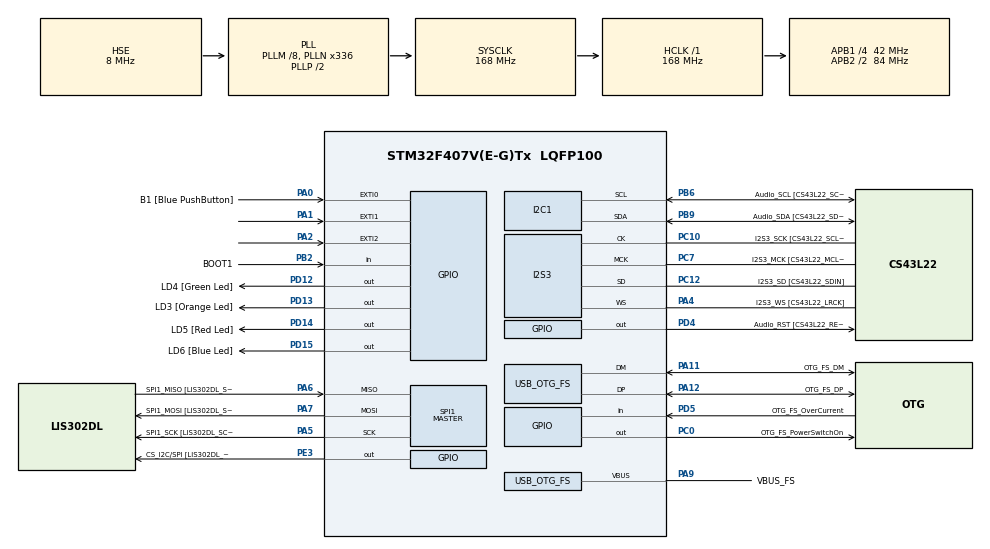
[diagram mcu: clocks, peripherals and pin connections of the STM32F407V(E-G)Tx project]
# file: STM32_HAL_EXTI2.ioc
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I2S3.AudioFreq-Half_Duplex_Master=I2S_AUDIOFREQ_96K
I2S3.ErrorAudioFreq=-2.34 %
I2S3.ErrorAudioFreq-Half_Duplex_Master=0.8 %
I2S3.FullDuplexMode=I2S_FULLDUPLEXMODE_DISABLE
I2S3.Instance=SPI$Index
I2S3.RealAudioFreq=93.75 KHz
I2S3.RealAudioFreq-Half_Duplex_Master=96.774 KHz
I2S3.VirtualMode=I2S_MODE_MASTER
Mcu.Family=STM32F4
Mcu.Name=STM32F407V(E-G)Tx
Mcu.Package=LQFP100
NVIC.EXTI0_IRQn=true\:0\:0\:false\:false\:true\:true\:true\:true
NVIC.EXTI1_IRQn=true\:0\:0\:false\:false\:true\:true\:true\:true
NVIC.EXTI2_IRQn=true\:0\:0\:false\:false\:true\:true\:true\:true
NVIC.OTG_FS_IRQn=true\:0\:0\:false\:false\:true\:true\:true\:true
NVIC.PriorityGroup=NVIC_PRIORITYGROUP_0
PA0-WKUP.GPIO_Label=B1 [Blue PushButton]
PA0-WKUP.GPIO_ModeDefaultEXTI=GPIO_MODE_IT_RISING_FALLING
PA0-WKUP.GPIO_PuPd=GPIO_PULLDOWN
PA0-WKUP.Signal=GPXTI0
PA1.GPIO_ModeDefaultEXTI=GPIO_MODE_IT_RISING_FALLING
PA1.GPIO_PuPd=GPIO_PULLDOWN
PA1.Signal=GPXTI1
PA10.GPIO_Label=OTG_FS_ID
PA10.GPIO_Mode=GPIO_MODE_AF_PP
PA10.GPIO_PuPd=GPIO_NOPULL
PA10.GPIO_Speed=GPIO_SPEED_FREQ_LOW
PA10.Signal=USB_OTG_FS_ID
PA11.GPIO_Label=OTG_FS_DM
PA11.GPIO_Mode=GPIO_MODE_AF_PP
PA11.GPIO_PuPd=GPIO_NOPULL
PA11.GPIO_Speed=GPIO_SPEED_FREQ_LOW
PA11.Mode=Host_Only
PA11.Signal=USB_OTG_FS_DM
PA12.GPIO_Label=OTG_FS_DP
PA12.GPIO_Mode=GPIO_MODE_AF_PP
PA12.GPIO_PuPd=GPIO_NOPULL
PA12.GPIO_Speed=GPIO_SPEED_FREQ_LOW
PA12.Mode=Host_Only
PA12.Signal=USB_OTG_FS_DP
PA13.GPIO_Label=SWDIO
PA13.Mode=Serial_Wire
PA13.Signal=SYS_JTMS-SWDIO
PA14.GPIO_Label=SWCLK
PA14.Mode=Serial_Wire
PA14.Signal=SYS_JTCK-SWCLK
PA2.GPIO_ModeDefaultEXTI=GPIO_MODE_IT_RISING_FALLING
PA2.GPIO_PuPd=GPIO_PULLDOWN
PA2.Signal=GPXTI2
PA4.GPIO_Label=I2S3_WS [CS43L22_LRCK]
PA4.GPIO_Mode=GPIO_MODE_AF_PP
PA4.GPIO_PuPd=GPIO_NOPULL
PA4.GPIO_Speed=GPIO_SPEED_FREQ_LOW
PA4.Mode=Half_Duplex_Master
PA4.Signal=I2S3_WS
PA5.GPIO_Label=SPI1_SCK [LIS302DL_SCL/SPC]
PA5.GPIO_Mode=GPIO_MODE_AF_PP
PA5.GPIO_PuPd=GPIO_NOPULL
PA5.GPIO_Speed=GPIO_SPEED_FREQ_LOW
PA5.Mode=Full_Duplex_Master
PA5.Signal=SPI1_SCK
PA6.GPIO_Label=SPI1_MISO [LIS302DL_SDO]
PA6.GPIO_Mode=GPIO_MODE_AF_PP
PA6.GPIO_PuPd=GPIO_NOPULL
PA6.GPIO_Speed=GPIO_SPEED_FREQ_LOW
PA6.Mode=Full_Duplex_Master
PA6.Signal=SPI1_MISO
PA7.GPIO_Label=SPI1_MOSI [LIS302DL_SDA/SDI/SDO]
PA7.GPIO_Mode=GPIO_MODE_AF_PP
PA7.GPIO_PuPd=GPIO_NOPULL
PA7.GPIO_Speed=GPIO_SPEED_FREQ_LOW
PA7.Mode=Full_Duplex_Master
PA7.Signal=SPI1_MOSI
PA9.GPIO_Label=VBUS_FS
PA9.GPIO_Mode=GPIO_MODE_INPUT
PA9.GPIO_PuPd=GPIO_NOPULL
PA9.Mode=Activate_VBUS
PA9.Signal=USB_OTG_FS_VBUS
PB10.GPIO_Label=CLK_IN [MP45DT02_CLK]
PB10.GPIO_Mode=GPIO_MODE_AF_PP
PB10.GPIO_PuPd=GPIO_NOPULL
PB10.GPIO_Speed=GPIO_SPEED_FREQ_LOW
PB10.Signal=I2S2_CK
PB2.GPIO_Label=BOOT1
PB2.GPIO_Mode=GPIO_MODE_INPUT
PB2.GPIO_PuPd=GPIO_NOPULL
PB2.Signal=GPIO_Input
PB3.GPIO_Label=SWO
PB3.Signal=SYS_JTDO-SWO
PB6.GPIO_Label=Audio_SCL [CS43L22_SCL]
PB6.GPIO_Mode=GPIO_MODE_AF_OD
PB6.GPIO_Pu=GPIO_PULLUP
PB6.GPIO_PuPd=GPIO_NOPULL
PB6.GPIO_Speed=GPIO_SPEED_FREQ_LOW
PB6.Mode=I2C
PB6.Signal=I2C1_SCL
PB9.GPIO_Label=Audio_SDA [CS43L22_SDA]
PB9.GPIO_Mode=GPIO_MODE_AF_OD
PB9.GPIO_Pu=GPIO_PULLUP
PB9.GPIO_PuPd=GPIO_NOPULL
PB9.GPIO_Speed=GPIO_SPEED_FREQ_LOW
PB9.Mode=I2C
PB9.Signal=I2C1_SDA
PC0.GPIO_Label=OTG_FS_PowerSwitchOn
PC0.GPIO_PuPd=GPIO_NOPULL
PC0.GPIO_Speed=GPIO_SPEED_FREQ_LOW
PC0.PinState=GPIO_PIN_SET
PC0.Signal=GPIO_Output
PC10.GPIO_Label=I2S3_SCK [CS43L22_SCLK]
PC10.GPIO_Mode=GPIO_MODE_AF_PP
PC10.GPIO_PuPd=GPIO_NOPULL
PC10.GPIO_Speed=GPIO_SPEED_FREQ_LOW
PC10.Mode=Half_Duplex_Master
PC10.Signal=I2S3_CK
PC12.GPIO_Label=I2S3_SD [CS43L22_SDIN]
PC12.GPIO_Mode=GPIO_MODE_AF_PP
PC12.GPIO_PuPd=GPIO_NOPULL
PC12.GPIO_Speed=GPIO_SPEED_FREQ_LOW
PC12.Mode=Half_Duplex_Master
PC12.Signal=I2S3_SD
PC14-OSC32_IN.GPIO_Label=PC14-OSC32_IN
PC14-OSC32_IN.Mode=LSE-External-Oscillator
PC14-OSC32_IN.Signal=RCC_OSC32_IN
PC15-OSC32_OUT.GPIO_Label=PC15-OSC32_OUT
PC15-OSC32_OUT.Mode=LSE-External-Oscillator
PC15-OSC32_OUT.Signal=RCC_OSC32_OUT
PC3.GPIO_Label=PDM_OUT [MP45DT02_DOUT]
PC3.GPIO_Mode=GPIO_MODE_AF_PP
PC3.GPIO_PuPd=GPIO_NOPULL
PC3.GPIO_Speed=GPIO_SPEED_FREQ_LOW
PC3.Signal=I2S2_SD
PC7.GPIO_Label=I2S3_MCK [CS43L22_MCLK]
PC7.GPIO_Mode=GPIO_MODE_AF_PP
PC7.GPIO_PuPd=GPIO_NOPULL
PC7.GPIO_Speed=GPIO_SPEED_FREQ_LOW
PC7.Mode=Master_Clock_Activated
PC7.Signal=I2S3_MCK
PD12.GPIO_Label=LD4 [Green Led]
PD12.GPIO_PuPd=GPIO_NOPULL
PD12.GPIO_Speed=GPIO_SPEED_FREQ_LOW
PD12.Signal=GPIO_Output
PD13.GPIO_Label=LD3 [Orange Led]
PD13.GPIO_PuPd=GPIO_NOPULL
PD13.GPIO_Speed=GPIO_SPEED_FREQ_LOW
PD13.Signal=GPIO_Output
PD14.GPIO_Label=LD5 [Red Led]
PD14.GPIO_PuPd=GPIO_NOPULL
PD14.GPIO_Speed=GPIO_SPEED_FREQ_LOW
PD14.Signal=GPIO_Output
PD15.GPIO_Label=LD6 [Blue Led]
PD15.GPIO_PuPd=GPIO_NOPULL
PD15.GPIO_Speed=GPIO_SPEED_FREQ_LOW
PD15.Signal=GPIO_Output
PD4.GPIO_Label=Audio_RST [CS43L22_RESET]
PD4.GPIO_PuPd=GPIO_NOPULL
PD4.GPIO_Speed=GPIO_SPEED_FREQ_LOW
PD4.Signal=GPIO_Output
PD5.GPIO_Label=OTG_FS_OverCurrent
PD5.GPIO_Mode=GPIO_MODE_INPUT
PD5.GPIO_PuPd=GPIO_NOPULL
PD5.Signal=GPIO_Input
PE3.GPIO_Label=CS_I2C/SPI [LIS302DL_CS_I2C/SPI]
PE3.GPIO_PuPd=GPIO_NOPULL
PE3.GPIO_Speed=GPIO_SPEED_FREQ_LOW
PE3.Signal=GPIO_Output
PH0-OSC_IN.GPIO_Label=PH0-OSC_IN
PH0-OSC_IN.Mode=HSE-External-Oscillator
PH0-OSC_IN.Signal=RCC_OSC_IN
PH1-OSC_OUT.GPIO_Label=PH1-OSC_OUT
PH1-OSC_OUT.Mode=HSE-External-Oscillator
PH1-OSC_OUT.Signal=RCC_OSC_OUT
ProjectManager.HeapSize=0x200
ProjectManager.StackSize=0x400
ProjectManager.TargetToolchain=STM32CubeIDE
RCC.48MHZClocksFreq_Value=48000000
RCC.AHBFreq_Value=168000000
RCC.APB1CLKDivider=RCC_HCLK_DIV4
RCC.APB1Freq_Value=42000000
RCC.APB1TimFreq_Value=84000000
RCC.APB2CLKDivider=RCC_HCLK_DIV2
RCC.APB2Freq_Value=84000000
RCC.APB2TimFreq_Value=168000000
RCC.CortexFreq_Value=168000000
RCC.HCLKFreq_Value=168000000
RCC.HSE_VALUE=8000000
RCC.HSI_VALUE=16000000
RCC.PLLM=8
RCC.PLLN=336
RCC.PLLQ=7
RCC.SYSCLKFreq_VALUE=168000000
RCC.SYSCLKSource=RCC_SYSCLKSOURCE_PLLCLK
RCC.VCOOutputFreq_Value=336000000
SPI1.BaudRatePrescaler-Full_Duplex_Master=SPI_BAUDRATEPRESCALER_2
SPI1.CalculateBaudRate-Full_Duplex_Master=42.0 MBits/s
SPI1.Direction=SPI_DIRECTION_2LINES
SPI1.Mode=SPI_MODE_MASTER
SPI1.Mode-Full_Duplex_Master=SPI_MODE_MASTER
SPI1.VirtualType=VM_MASTER
USB_HOST.BSP.number=1
USB_HOST.USBH_HandleTypeDef-CDC_FS=hUsbHostFS
USB_HOST.VirtualModeFS=Cdc
USB_HOST0.BSP.STBoard=false
USB_HOST0.BSP.api=Unknown
USB_HOST0.BSP.instance=PC0
USB_HOST0.BSP.ip=GPIO
USB_HOST0.BSP.mode=Output
USB_HOST0.BSP.name=Drive_VBUS_FS
USB_HOST0.BSP.solution=PC0
USB_OTG_FS.VirtualMode=Host_Only
USB_OTG_FS.phy_itface=HCD_PHY_EMBEDDED
VP_USB_HOST_VS_USB_HOST_CDC_FS.Mode=CDC_FS
board=STM32F407G-DISC1

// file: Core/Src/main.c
/* USER CODE BEGIN Header */
/**
  ******************************************************************************
  * @file           : main.c
  * @brief          : Main program body
  ******************************************************************************
  * @attention
  *
  * Copyright (c) 2023 STMicroelectronics.
  * All rights reserved.
  *
  * This software is licensed under terms that can be found in the LICENSE file
  * in the root directory of this software component.
  * If no LICENSE file comes with this software, it is provided AS-IS.
  *
  ******************************************************************************
  */
/* USER CODE END Header */
#include "main.h"
#include "usb_host.h"

/* USER CODE BEGIN Includes */
int count = 1000;
/* USER CODE END Includes */

I2C_HandleTypeDef hi2c1;

I2S_HandleTypeDef hi2s3;

SPI_HandleTypeDef hspi1;

void SystemClock_Config(void);
static void MX_GPIO_Init(void);
static void MX_I2C1_Init(void);
static void MX_I2S3_Init(void);
static void MX_SPI1_Init(void);
void MX_USB_HOST_Process(void);

/* USER CODE BEGIN PFP */
int i = 0;
/* USER CODE END PFP */

/* USER CODE BEGIN 0 */
void HAL_GPIO_EXTI_Callback(uint16_t GPIO_Pin)
{
	if (HAL_GPIO_ReadPin(GPIOA,GPIO_PIN_0))
	{
		if(i == 0)
		{
			count = 750;
			i++;
        }
		else if(i == 1)
		{
			count = 500;
			i++;
		}
		else if(i == 2)
		{
			count = 250;
			i++;
		}
		else if(i == 3)
		{
			count = 100;
			i = 0;
		}
	}

}
/* USER CODE END 0 */

int main(void)
{

  /* MCU Configuration--------------------------------------------------------*/

  /* Reset of all peripherals, Initializes the Flash interface and the Systick. */
  HAL_Init();

  /* Configure the system clock */
  SystemClock_Config();

  /* Initialize all configured peripherals */
  MX_GPIO_Init();
  MX_I2C1_Init();
  MX_I2S3_Init();
  MX_SPI1_Init();
  MX_USB_HOST_Init();

  /* Infinite loop */
  while (1)
  {
    MX_USB_HOST_Process();

    /* USER CODE BEGIN 3 */
    HAL_GPIO_TogglePin(GPIOD,GPIO_PIN_12 | GPIO_PIN_13 | GPIO_PIN_14 | GPIO_PIN_15);
    HAL_Delay(count);
  }
  /* USER CODE END 3 */
}

void SystemClock_Config(void)
{
  RCC_OscInitTypeDef RCC_OscInitStruct = {0};
  RCC_ClkInitTypeDef RCC_ClkInitStruct = {0};

  /** Configure the main internal regulator output voltage
  */
  __HAL_RCC_PWR_CLK_ENABLE();
  __HAL_PWR_VOLTAGESCALING_CONFIG(PWR_REGULATOR_VOLTAGE_SCALE1);

  /** Initializes the RCC Oscillators according to the specified parameters
  * in the RCC_OscInitTypeDef structure.
  */
  RCC_OscInitStruct.OscillatorType = RCC_OSCILLATORTYPE_HSE;
  RCC_OscInitStruct.HSEState = RCC_HSE_ON;
  RCC_OscInitStruct.PLL.PLLState = RCC_PLL_ON;
  RCC_OscInitStruct.PLL.PLLSource = RCC_PLLSOURCE_HSE;
  RCC_OscInitStruct.PLL.PLLM = 8;
  RCC_OscInitStruct.PLL.PLLN = 336;
  RCC_OscInitStruct.PLL.PLLP = RCC_PLLP_DIV2;
  RCC_OscInitStruct.PLL.PLLQ = 7;
  if (HAL_RCC_OscConfig(&RCC_OscInitStruct) != HAL_OK)
  {
    Error_Handler();
  }

  /** Initializes the CPU, AHB and APB buses clocks
  */
  RCC_ClkInitStruct.ClockType = RCC_CLOCKTYPE_HCLK|RCC_CLOCKTYPE_SYSCLK
                              |RCC_CLOCKTYPE_PCLK1|RCC_CLOCKTYPE_PCLK2;
  RCC_ClkInitStruct.SYSCLKSource = RCC_SYSCLKSOURCE_PLLCLK;
  RCC_ClkInitStruct.AHBCLKDivider = RCC_SYSCLK_DIV1;
  RCC_ClkInitStruct.APB1CLKDivider = RCC_HCLK_DIV4;
  RCC_ClkInitStruct.APB2CLKDivider = RCC_HCLK_DIV2;

  if (HAL_RCC_ClockConfig(&RCC_ClkInitStruct, FLASH_LATENCY_5) != HAL_OK)
  {
    Error_Handler();
  }
}

static void MX_I2C1_Init(void)
{

  hi2c1.Instance = I2C1;
  hi2c1.Init.ClockSpeed = 100000;
  hi2c1.Init.DutyCycle = I2C_DUTYCYCLE_2;
  hi2c1.Init.OwnAddress1 = 0;
  hi2c1.Init.AddressingMode = I2C_ADDRESSINGMODE_7BIT;
  hi2c1.Init.DualAddressMode = I2C_DUALADDRESS_DISABLE;
  hi2c1.Init.OwnAddress2 = 0;
  hi2c1.Init.GeneralCallMode = I2C_GENERALCALL_DISABLE;
  hi2c1.Init.NoStretchMode = I2C_NOSTRETCH_DISABLE;
  if (HAL_I2C_Init(&hi2c1) != HAL_OK)
  {
    Error_Handler();
  }

}

static void MX_I2S3_Init(void)
{

  hi2s3.Instance = SPI3;
  hi2s3.Init.Mode = I2S_MODE_MASTER_TX;
  hi2s3.Init.Standard = I2S_STANDARD_PHILIPS;
  hi2s3.Init.DataFormat = I2S_DATAFORMAT_16B;
  hi2s3.Init.MCLKOutput = I2S_MCLKOUTPUT_ENABLE;
  hi2s3.Init.AudioFreq = I2S_AUDIOFREQ_96K;
  hi2s3.Init.CPOL = I2S_CPOL_LOW;
  hi2s3.Init.ClockSource = I2S_CLOCK_PLL;
  hi2s3.Init.FullDuplexMode = I2S_FULLDUPLEXMODE_DISABLE;
  if (HAL_I2S_Init(&hi2s3) != HAL_OK)
  {
    Error_Handler();
  }

}

static void MX_SPI1_Init(void)
{

  /* SPI1 parameter configuration*/
  hspi1.Instance = SPI1;
  hspi1.Init.Mode = SPI_MODE_MASTER;
  hspi1.Init.Direction = SPI_DIRECTION_2LINES;
  hspi1.Init.DataSize = SPI_DATASIZE_8BIT;
  hspi1.Init.CLKPolarity = SPI_POLARITY_LOW;
  hspi1.Init.CLKPhase = SPI_PHASE_1EDGE;
  hspi1.Init.NSS = SPI_NSS_SOFT;
  hspi1.Init.BaudRatePrescaler = SPI_BAUDRATEPRESCALER_2;
  hspi1.Init.FirstBit = SPI_FIRSTBIT_MSB;
  hspi1.Init.TIMode = SPI_TIMODE_DISABLE;
  hspi1.Init.CRCCalculation = SPI_CRCCALCULATION_DISABLE;
  hspi1.Init.CRCPolynomial = 10;
  if (HAL_SPI_Init(&hspi1) != HAL_OK)
  {
    Error_Handler();
  }

}

static void MX_GPIO_Init(void)
{
  GPIO_InitTypeDef GPIO_InitStruct = {0};

  /* GPIO Ports Clock Enable */
  __HAL_RCC_GPIOE_CLK_ENABLE();
  __HAL_RCC_GPIOC_CLK_ENABLE();
  __HAL_RCC_GPIOH_CLK_ENABLE();
  __HAL_RCC_GPIOA_CLK_ENABLE();
  __HAL_RCC_GPIOB_CLK_ENABLE();
  __HAL_RCC_GPIOD_CLK_ENABLE();

  /*Configure GPIO pin Output Level */
  HAL_GPIO_WritePin(CS_I2C_SPI_GPIO_Port, CS_I2C_SPI_Pin, GPIO_PIN_RESET);

  /*Configure GPIO pin Output Level */
  HAL_GPIO_WritePin(OTG_FS_PowerSwitchOn_GPIO_Port, OTG_FS_PowerSwitchOn_Pin, GPIO_PIN_SET);

  /*Configure GPIO pin Output Level */
  HAL_GPIO_WritePin(GPIOD, LD4_Pin|LD3_Pin|LD5_Pin|LD6_Pin
                          |Audio_RST_Pin, GPIO_PIN_RESET);

  /*Configure GPIO pin : CS_I2C_SPI_Pin */
  GPIO_InitStruct.Pin = CS_I2C_SPI_Pin;
  GPIO_InitStruct.Mode = GPIO_MODE_OUTPUT_PP;
  GPIO_InitStruct.Pull = GPIO_NOPULL;
  GPIO_InitStruct.Speed = GPIO_SPEED_FREQ_LOW;
  HAL_GPIO_Init(CS_I2C_SPI_GPIO_Port, &GPIO_InitStruct);

  /*Configure GPIO pin : OTG_FS_PowerSwitchOn_Pin */
  GPIO_InitStruct.Pin = OTG_FS_PowerSwitchOn_Pin;
  GPIO_InitStruct.Mode = GPIO_MODE_OUTPUT_PP;
  GPIO_InitStruct.Pull = GPIO_NOPULL;
  GPIO_InitStruct.Speed = GPIO_SPEED_FREQ_LOW;
  HAL_GPIO_Init(OTG_FS_PowerSwitchOn_GPIO_Port, &GPIO_InitStruct);

  /*Configure GPIO pin : PDM_OUT_Pin */
  GPIO_InitStruct.Pin = PDM_OUT_Pin;
  GPIO_InitStruct.Mode = GPIO_MODE_AF_PP;
  GPIO_InitStruct.Pull = GPIO_NOPULL;
  GPIO_InitStruct.Speed = GPIO_SPEED_FREQ_LOW;
  GPIO_InitStruct.Alternate = GPIO_AF5_SPI2;
  HAL_GPIO_Init(PDM_OUT_GPIO_Port, &GPIO_InitStruct);

  /*Configure GPIO pins : B1_Pin PA1 PA2 */
  GPIO_InitStruct.Pin = B1_Pin|GPIO_PIN_1|GPIO_PIN_2;
  GPIO_InitStruct.Mode = GPIO_MODE_IT_RISING_FALLING;
  GPIO_InitStruct.Pull = GPIO_PULLDOWN;
  HAL_GPIO_Init(GPIOA, &GPIO_InitStruct);

  /*Configure GPIO pin : BOOT1_Pin */
  GPIO_InitStruct.Pin = BOOT1_Pin;
  GPIO_InitStruct.Mode = GPIO_MODE_INPUT;
  GPIO_InitStruct.Pull = GPIO_NOPULL;
  HAL_GPIO_Init(BOOT1_GPIO_Port, &GPIO_InitStruct);

  /*Configure GPIO pin : CLK_IN_Pin */
  GPIO_InitStruct.Pin = CLK_IN_Pin;
  GPIO_InitStruct.Mode = GPIO_MODE_AF_PP;
  GPIO_InitStruct.Pull = GPIO_NOPULL;
  GPIO_InitStruct.Speed = GPIO_SPEED_FREQ_LOW;
  GPIO_InitStruct.Alternate = GPIO_AF5_SPI2;
  HAL_GPIO_Init(CLK_IN_GPIO_Port, &GPIO_InitStruct);

  /*Configure GPIO pins : LD4_Pin LD3_Pin LD5_Pin LD6_Pin
                           Audio_RST_Pin */
  GPIO_InitStruct.Pin = LD4_Pin|LD3_Pin|LD5_Pin|LD6_Pin
                          |Audio_RST_Pin;
  GPIO_InitStruct.Mode = GPIO_MODE_OUTPUT_PP;
  GPIO_InitStruct.Pull = GPIO_NOPULL;
  GPIO_InitStruct.Speed = GPIO_SPEED_FREQ_LOW;
  HAL_GPIO_Init(GPIOD, &GPIO_InitStruct);

  /*Configure GPIO pin : OTG_FS_OverCurrent_Pin */
  GPIO_InitStruct.Pin = OTG_FS_OverCurrent_Pin;
  GPIO_InitStruct.Mode = GPIO_MODE_INPUT;
  GPIO_InitStruct.Pull = GPIO_NOPULL;
  HAL_GPIO_Init(OTG_FS_OverCurrent_GPIO_Port, &GPIO_InitStruct);

  /* EXTI interrupt init*/
  HAL_NVIC_SetPriority(EXTI0_IRQn, 0, 0);
  HAL_NVIC_EnableIRQ(EXTI0_IRQn);

  HAL_NVIC_SetPriority(EXTI1_IRQn, 0, 0);
  HAL_NVIC_EnableIRQ(EXTI1_IRQn);

  HAL_NVIC_SetPriority(EXTI2_IRQn, 0, 0);
  HAL_NVIC_EnableIRQ(EXTI2_IRQn);

}

void Error_Handler(void)
{
  __disable_irq();
  while (1)
  {
  }
}
